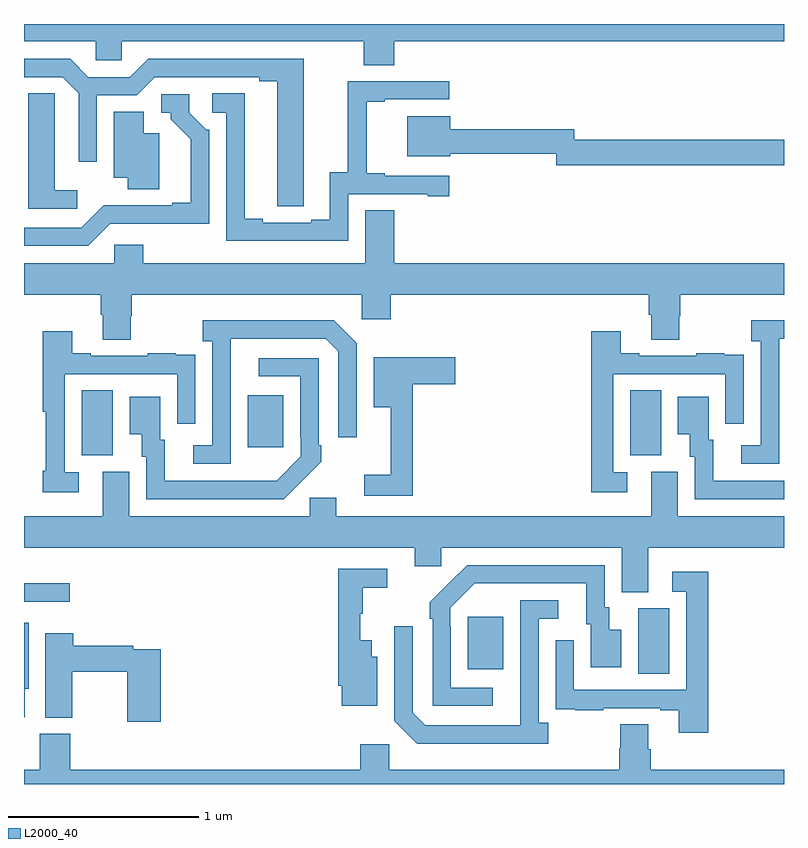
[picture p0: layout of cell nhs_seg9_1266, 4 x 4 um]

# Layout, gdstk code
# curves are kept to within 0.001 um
import gdstk
lib = gdstk.Library(unit=1e-6, precision=1e-09)
def R(c, l, rs):  # rectangles x0, y0, x1, y1
    for r in rs: c.add(gdstk.rectangle(r[:2], r[2:], *l))
def P(c, l, *ps):  # polygons
    for p in ps: c.add(gdstk.Polygon(p, *l))
L2000_40 = (2000, 40)

nhs_seg9_1266 = lib.new_cell('nhs_seg9_1266')
R(nhs_seg9_1266, L2000_40, [(184.232,1205.08,184.396,1205.424), (183.335,1205.105,183.523,1205.38), (181,1205.46,181.24,1205.556), (181.304,1206.229,181.468,1206.572), (184.19,1206.229,184.354,1206.572), (182.177,1206.273,182.365,1206.547)])
P(nhs_seg9_1266, L2000_40, [(182.948,1208.408),(185,1208.408),(185,1208.5),(181,1208.5),(181,1208.408),(181.377,1208.408),(181.377,1208.31),(181.515,1208.31),(181.515,1208.408),(182.788,1208.408),(182.788,1208.284),(182.948,1208.284)],
  [(182.472,1207.648),(182.473,1208.316),(181.653,1208.316),(181.557,1208.22),(181.339,1208.22),(181.243,1208.316),(181,1208.316),(181,1208.22),(181.203,1208.22),(181.287,1208.136),(181.287,1207.776),(181.383,1207.776),(181.383,1208.124),(181.593,1208.124),(181.689,1208.22),(182.237,1208.22),(182.237,1208.2),(182.333,1208.2),(182.333,1207.54),(182.472,1207.54)],
  [(182.706,1207.605),(183.125,1207.605),(183.125,1207.593),(183.238,1207.593),(183.238,1207.701),(182.899,1207.701),(182.899,1207.714),(182.804,1207.714),(182.804,1208.091),(182.899,1208.091),(182.899,1208.103),(183.238,1208.103),(183.238,1208.199),(182.704,1208.199),(182.704,1207.721),(182.609,1207.721),(182.609,1207.47),(182.513,1207.47),(182.513,1207.455),(182.257,1207.455),(182.257,1207.475),(182.161,1207.475),(182.161,1208.135),(181.992,1208.135),(181.992,1208.034),(182.064,1208.034),(182.064,1207.359),(182.706,1207.359)],
  [(181.279,1207.624),(181.162,1207.624),(181.162,1208.027),(181.161,1208.027),(181.161,1208.135),(181.022,1208.135),(181.022,1207.527),(181.279,1207.527)],
  [(181.455,1207.449),(181.974,1207.448),(181.974,1207.944),(181.959,1207.944),(181.869,1208.034),(181.869,1208.13),(181.722,1208.13),(181.722,1208.034),(181.772,1208.034),(181.772,1207.999),(181.877,1207.894),(181.877,1207.558),(181.781,1207.558),(181.781,1207.545),(181.42,1207.546),(181.302,1207.428),(181,1207.428),(181,1207.332),(181.338,1207.332)],
  [(181.711,1207.924),(181.63,1207.924),(181.63,1208.039),(181.472,1208.039),(181.472,1207.691),(181.547,1207.691),(181.547,1207.63),(181.711,1207.63)],
  [(185,1207.892),(183.897,1207.892),(183.897,1207.945),(183.244,1207.945),(183.244,1208.014),(183.017,1208.014),(183.017,1207.805),(183.244,1207.805),(183.244,1207.816),(183.801,1207.816),(183.801,1207.756),(185,1207.756)],
  [(181.476,1207.24),(181,1207.24),(181,1207.076),(181.403,1207.076),(181.403,1206.97),(181.415,1206.97),(181.415,1206.838),(181.563,1206.838),(181.563,1206.963),(181.568,1206.963),(181.568,1207.076),(182.778,1207.076),(182.778,1206.945),(182.93,1206.945),(182.93,1207.076),(184.289,1207.076),(184.289,1206.97),(184.301,1206.97),(184.301,1206.838),(184.449,1206.838),(184.449,1206.963),(184.454,1206.963),(184.454,1207.076),(185,1207.076),(185,1207.24),(182.948,1207.24),(182.948,1207.52),(182.795,1207.52),(182.795,1207.24),(181.628,1207.24),(181.628,1207.338),(181.476,1207.338)],
  [(184.974,1206.643),(184.975,1206.643),(184.975,1206.843),(185,1206.843),(185,1206.94),(184.827,1206.94),(184.827,1206.83),(184.878,1206.83),(184.878,1206.282),(184.776,1206.282),(184.776,1206.186),(184.974,1206.186)],
  [(182.088,1206.643),(182.089,1206.843),(182.589,1206.843),(182.655,1206.777),(182.655,1206.324),(182.751,1206.324),(182.751,1206.819),(182.63,1206.94),(181.941,1206.94),(181.941,1206.83),(181.992,1206.83),(181.992,1206.282),(181.89,1206.282),(181.89,1206.186),(182.088,1206.186)],
  [(184.174,1206.141),(184.101,1206.141),(184.101,1206.657),(184.692,1206.657),(184.692,1206.396),(184.788,1206.396),(184.788,1206.65),(184.787,1206.65),(184.787,1206.759),(184.685,1206.759),(184.685,1206.766),(184.537,1206.766),(184.537,1206.753),(184.237,1206.753),(184.237,1206.766),(184.141,1206.766),(184.141,1206.883),(183.985,1206.883),(183.985,1206.036),(184.174,1206.036)],
  [(181.288,1206.141),(181.215,1206.141),(181.215,1206.657),(181.806,1206.657),(181.806,1206.396),(181.902,1206.396),(181.902,1206.65),(181.901,1206.65),(181.901,1206.759),(181.799,1206.759),(181.799,1206.766),(181.651,1206.766),(181.651,1206.753),(181.351,1206.753),(181.351,1206.766),(181.255,1206.766),(181.255,1206.883),(181.099,1206.883),(181.099,1206.459),(181.114,1206.459),(181.114,1206.148),(181.099,1206.148),(181.099,1206.036),(181.288,1206.036)],
  [(183.047,1206.605),(183.271,1206.605),(183.271,1206.747),(182.84,1206.747),(182.84,1206.482),(182.93,1206.482),(182.93,1206.127),(182.79,1206.127),(182.79,1206.018),(183.047,1206.018)],
  [(182.459,1206.091),(182.46,1206.09),(182.565,1206.195),(182.565,1206.283),(182.55,1206.283),(182.55,1206.741),(182.235,1206.741),(182.235,1206.645),(182.454,1206.645),(182.454,1206.325),(182.457,1206.325),(182.457,1206.225),(182.329,1206.097),(181.741,1206.096),(181.741,1206.312),(181.717,1206.312),(181.717,1206.538),(181.556,1206.538),(181.556,1206.341),(181.619,1206.341),(181.619,1206.222),(181.644,1206.222),(181.644,1206),(182.368,1206)],
  [(185,1206.096),(184.627,1206.096),(184.627,1206.312),(184.603,1206.312),(184.603,1206.538),(184.442,1206.538),(184.442,1206.341),(184.505,1206.341),(184.505,1206.222),(184.53,1206.222),(184.53,1206),(185,1206)],
  [(184.285,1205.744),(185,1205.744),(185,1205.908),(184.441,1205.908),(184.441,1206.144),(184.301,1206.144),(184.301,1205.908),(182.644,1205.908),(182.644,1206.006),(182.505,1206.006),(182.505,1205.908),(181.555,1205.908),(181.555,1206.144),(181.415,1206.144),(181.415,1205.908),(181,1205.908),(181,1205.744),(183.056,1205.744),(183.056,1205.646),(183.195,1205.646),(183.195,1205.744),(184.145,1205.744),(184.145,1205.509),(184.285,1205.509)],
  [(183.466,1205.007),(183.246,1205.007),(183.246,1205.327),(183.243,1205.327),(183.243,1205.427),(183.372,1205.556),(183.959,1205.556),(183.959,1205.34),(183.983,1205.34),(183.983,1205.115),(184.144,1205.115),(184.144,1205.311),(184.081,1205.311),(184.081,1205.43),(184.056,1205.43),(184.056,1205.652),(183.332,1205.652),(183.135,1205.457),(183.135,1205.369),(183.15,1205.369),(183.15,1204.911),(183.466,1204.911)],
  [(182.86,1205.17),(182.83,1205.17),(182.83,1205.257),(182.771,1205.257),(182.771,1205.397),(182.782,1205.397),(182.782,1205.533),(182.911,1205.533),(182.911,1205.634),(182.653,1205.634),(182.653,1205.017),(182.672,1205.017),(182.672,1204.913),(182.86,1204.913)],
  [(184.601,1205.617),(184.413,1205.617),(184.413,1205.511),(184.485,1205.511),(184.485,1204.995),(183.894,1204.995),(183.894,1205.257),(183.798,1205.257),(183.798,1205.002),(183.799,1205.002),(183.799,1204.893),(183.901,1204.893),(183.901,1204.887),(184.049,1204.887),(184.049,1204.899),(184.349,1204.899),(184.349,1204.887),(184.445,1204.887),(184.445,1204.77),(184.601,1204.77)],
  [(183.76,1204.822),(183.708,1204.822),(183.708,1205.37),(183.811,1205.37),(183.811,1205.466),(183.612,1205.466),(183.611,1204.809),(183.111,1204.809),(183.045,1204.875),(183.045,1205.329),(182.949,1205.329),(182.949,1204.833),(183.07,1204.712),(183.76,1204.712)],
  [(181.003,1205.001),(181.024,1205.001),(181.024,1205.35),(181,1205.35),(181,1204.851),(181.003,1204.851)],
  [(181.721,1205.208),(181.574,1205.208),(181.574,1205.228),(181.259,1205.228),(181.259,1205.293),(181.112,1205.293),(181.112,1204.849),(181.254,1204.849),(181.254,1205.092),(181.543,1205.092),(181.543,1204.827),(181.721,1204.827)],
  [(185,1204.576),(184.298,1204.576),(184.298,1204.682),(184.285,1204.682),(184.285,1204.814),(184.138,1204.814),(184.138,1204.689),(184.133,1204.689),(184.133,1204.576),(182.922,1204.576),(182.922,1204.708),(182.771,1204.708),(182.771,1204.576),(181.244,1204.576),(181.244,1204.764),(181.084,1204.764),(181.084,1204.576),(181,1204.576),(181,1204.5),(185,1204.5)])

lib.write_gds('nhs_seg9_1266.gds')
